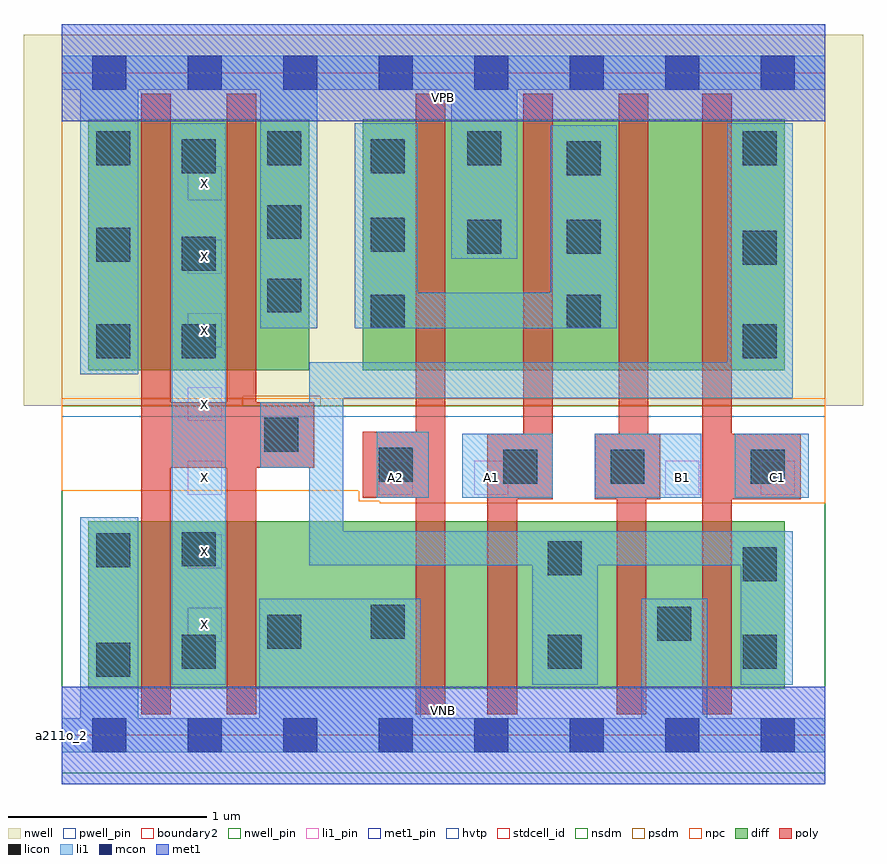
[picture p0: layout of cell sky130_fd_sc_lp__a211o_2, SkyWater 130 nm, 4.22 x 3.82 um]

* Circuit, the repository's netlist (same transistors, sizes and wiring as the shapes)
* Copyright 2020 The SkyWater PDK Authors
*
* Licensed under the Apache License, Version 2.0 (the "License");
* you may not use this file except in compliance with the License.
* You may obtain a copy of the License at
*
*     https://www.apache.org/licenses/LICENSE-2.0
*
* Unless required by applicable law or agreed to in writing, software
* distributed under the License is distributed on an "AS IS" BASIS,
* WITHOUT WARRANTIES OR CONDITIONS OF ANY KIND, either express or implied.
* See the License for the specific language governing permissions and
* limitations under the License.
*
* SPDX-License-Identifier: Apache-2.0

.SUBCKT sky130_fd_sc_lp__a211o_2 A1 A2 B1 C1 VGND VNB VPB VPWR X
*.PININFO A1:I A2:I B1:I C1:I VGND:I VNB:I VPB:I VPWR:I X:O
MMPA0 pndA A1 VPWR VPB sky130_fd_pr__pfet_01v8_hvt m=1 w=1.26U l=0.15U mult=1 sa=0.265
+ sb=0.265 sd=0.28 area=0.063 perim=1.14
MMPA1 pndA A2 VPWR VPB sky130_fd_pr__pfet_01v8_hvt m=1 w=1.26U l=0.15U mult=1 sa=0.265
+ sb=0.265 sd=0.28 area=0.063 perim=1.14
MMPB0 pndB B1 pndA VPB sky130_fd_pr__pfet_01v8_hvt m=1 w=1.26U l=0.15U mult=1 sa=0.265
+ sb=0.265 sd=0.28 area=0.063 perim=1.14
MMPC0 y C1 pndB VPB sky130_fd_pr__pfet_01v8_hvt m=1 w=1.26U l=0.15U mult=1 sa=0.265
+ sb=0.265 sd=0.28 area=0.063 perim=1.14
MMIPX X y VPWR VPB sky130_fd_pr__pfet_01v8_hvt m=2 w=1.26U l=0.15U mult=1 sa=0.265
+ sb=0.265 sd=0.28 area=0.063 perim=1.14
MMNA0 y A1 sndA1 VNB sky130_fd_pr__nfet_01v8 m=1 w=0.84U l=0.15U mult=1 sa=0.265
+ sb=0.265 sd=0.28 area=0.063 perim=1.14
MMNA1 sndA1 A2 VGND VNB sky130_fd_pr__nfet_01v8 m=1 w=0.84U l=0.15U mult=1 sa=0.265
+ sb=0.265 sd=0.28 area=0.063 perim=1.14
MMNB0 y B1 VGND VNB sky130_fd_pr__nfet_01v8 m=1 w=0.84U l=0.15U mult=1 sa=0.265
+ sb=0.265 sd=0.28 area=0.063 perim=1.14
MMNC0 y C1 VGND VNB sky130_fd_pr__nfet_01v8 m=1 w=0.84U l=0.15U mult=1 sa=0.265
+ sb=0.265 sd=0.28 area=0.063 perim=1.14
MMINX X y VGND VNB sky130_fd_pr__nfet_01v8 m=2 w=0.84U l=0.15U mult=1 sa=0.265
+ sb=0.265 sd=0.28 area=0.063 perim=1.14
.ENDS sky130_fd_sc_lp__a211o_2

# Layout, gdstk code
import gdstk
lib = gdstk.Library(unit=1e-6, precision=1e-09)
def R(c, l, rs):  # rectangles x0, y0, x1, y1
    for r in rs: c.add(gdstk.rectangle(r[:2], r[2:], *l))
def A(c, l, x, y, w, h, nx, ny, dx, dy):  # array of equal rectangles
    R(c, l, [(x+i*dx, y+j*dy, x+i*dx+w, y+j*dy+h) for i in range(nx) for j in range(ny)])
def P(c, l, *ps):  # polygons
    for p in ps: c.add(gdstk.Polygon(p, *l))
nwell_pin = (64, 16)
nwell = (64, 20)
diff = (65, 20)
poly = (66, 20)
licon = (66, 44)
li1_pin = (67, 16)
li1 = (67, 20)
mcon = (67, 44)
met1_pin = (68, 16)
met1 = (68, 20)
hvtp = (78, 44)
stdcell_id = (81, 4)
nsdm = (93, 44)
psdm = (94, 20)
npc = (95, 20)
pwell_pin = (122, 16)
boundary2 = (236, 0)

sky130_fd_sc_lp__a211o_2 = lib.new_cell('sky130_fd_sc_lp__a211o_2')
R(sky130_fd_sc_lp__a211o_2, nwell_pin, [(0,3.085,3.84,3.33)])
R(sky130_fd_sc_lp__a211o_2, nwell, [(-0.19,1.655,4.03,3.52)])
R(sky130_fd_sc_lp__a211o_2, diff, [(0.135,0.235,3.635,1.075), (0.135,1.835,1.245,3.095), (1.515,1.835,3.635,3.095)])
P(sky130_fd_sc_lp__a211o_2, poly, [(0.98,1.345),(1.27,1.345),(1.27,1.675),(0.98,1.675),(0.98,3.225),(0.83,3.225),(0.83,1.675),(0.55,1.675),(0.55,3.225),(0.4,3.225),(0.4,0.105),(0.55,0.105),(0.55,1.345),(0.83,1.345),(0.83,0.105),(0.98,0.105)],
  [(1.93,3.225),(1.78,3.225),(1.78,1.525),(1.515,1.525),(1.515,1.195),(1.78,1.195),(1.78,0.105),(1.93,0.105)],
  [(2.47,3.225),(2.32,3.225),(2.32,1.515),(2.14,1.515),(2.14,0.105),(2.29,0.105),(2.29,1.185),(2.47,1.185)],
  [(3.01,1.515),(2.95,1.515),(2.95,3.225),(2.8,3.225),(2.8,1.515),(2.68,1.515),(2.68,1.185),(2.79,1.185),(2.79,0.105),(2.94,0.105),(2.94,1.185),(3.01,1.185)],
  [(3.715,1.515),(3.37,1.515),(3.37,3.225),(3.22,3.225),(3.22,0.105),(3.37,0.105),(3.37,1.185),(3.715,1.185)])
A(sky130_fd_sc_lp__a211o_2, licon, 0.175, 1.895, 0.17, 0.17, 1, 3, 0, 0.485)
A(sky130_fd_sc_lp__a211o_2, licon, 1.035, 2.125, 0.17, 0.17, 1, 3, 0, 0.37)
R(sky130_fd_sc_lp__a211o_2, licon, [(0.175,0.295,0.345,0.465), (0.605,0.335,0.775,0.505), (2.445,0.335,2.615,0.505), (3.425,0.335,3.595,0.505), (1.035,0.435,1.205,0.605), (2.995,0.475,3.165,0.645), (1.555,0.485,1.725,0.655), (3.425,0.775,3.595,0.945), (2.445,0.805,2.615,0.975), (0.175,0.845,0.345,1.015), (0.605,0.85,0.775,1.02), (2.22,1.265,2.39,1.435), (2.76,1.265,2.93,1.435), (3.465,1.265,3.635,1.435), (1.595,1.275,1.765,1.445), (1.02,1.425,1.19,1.595), (0.605,1.895,0.775,2.065), (3.425,1.895,3.595,2.065), (1.555,2.045,1.725,2.215), (2.54,2.045,2.71,2.215), (0.605,2.335,0.775,2.505), (3.425,2.365,3.595,2.535), (2.04,2.42,2.21,2.59), (2.54,2.42,2.71,2.59), (1.555,2.43,1.725,2.6), (2.54,2.815,2.71,2.985), (0.605,2.825,0.775,2.995), (1.555,2.825,1.725,2.995), (2.04,2.865,2.21,3.035), (3.425,2.865,3.595,3.035)])
A(sky130_fd_sc_lp__a211o_2, li1_pin, 0.635, 0.47, 0.17, 0.17, 1, 7, 0, 0.37)
R(sky130_fd_sc_lp__a211o_2, li1_pin, [(1.595,1.21,1.765,1.38), (2.075,1.21,2.245,1.38), (3.035,1.21,3.205,1.38), (3.515,1.21,3.685,1.38)])
R(sky130_fd_sc_lp__a211o_2, li1, [(0.555,0.255,0.825,3.075), (1.585,1.195,1.845,1.525), (2.015,1.195,2.47,1.515), (2.68,1.195,3.215,1.515), (3.385,1.195,3.755,1.515)])
P(sky130_fd_sc_lp__a211o_2, li1, [(1,2.045),(1,3.245),(0.385,3.245),(0.385,1.815),(0.095,1.815),(0.095,3.245),(0,3.245),(0,3.415),(3.84,3.415),(3.84,3.245),(2.29,3.245),(2.29,2.395),(1.96,2.395),(1.96,3.245),(1.285,3.245),(1.285,2.045)],
  [(2.915,0.085),(2.915,0.685),(3.245,0.685),(3.245,0.085),(3.84,0.085),(3.84,-0.085),(0,-0.085),(0,0.085),(0.095,0.085),(0.095,1.095),(0.385,1.095),(0.385,0.085),(0.995,0.085),(0.995,0.685),(1.805,0.685),(1.805,0.085)],
  [(1.245,0.855),(1.245,1.345),(1,1.345),(1,1.675),(1.245,1.675),(1.245,1.875),(3.345,1.875),(3.345,3.075),(3.675,3.075),(3.675,1.695),(1.415,1.695),(1.415,1.025),(3.675,1.025),(3.675,0.255),(3.415,0.255),(3.415,0.855),(2.695,0.855),(2.695,0.255),(2.365,0.255),(2.365,0.855)],
  [(1.79,2.225),(2.46,2.225),(2.46,3.065),(2.79,3.065),(2.79,2.045),(1.475,2.045),(1.475,3.075),(1.79,3.075)])
A(sky130_fd_sc_lp__a211o_2, mcon, 0.155, -0.085, 0.17, 0.17, 8, 2, 0.48, 3.33)
R(sky130_fd_sc_lp__a211o_2, met1_pin, [(0,0,3.84,0.245), (0,3.085,3.84,3.33)])
R(sky130_fd_sc_lp__a211o_2, met1, [(0,-0.245,3.84,0.245), (0,3.085,3.84,3.575)])
R(sky130_fd_sc_lp__a211o_2, hvtp, [(0,1.6,3.84,3.33)])
R(sky130_fd_sc_lp__a211o_2, stdcell_id, [(0,0,3.84,3.33)])
R(sky130_fd_sc_lp__a211o_2, nsdm, [(0,-0.19,3.84,1.655)])
P(sky130_fd_sc_lp__a211o_2, psdm, [(3.84,3.52),(0,3.52),(0,1.655),(0.91,1.655),(0.91,1.705),(1.3,1.705),(1.3,1.655),(3.84,1.655)])
P(sky130_fd_sc_lp__a211o_2, npc, [(3.84,1.695),(0,1.695),(0,1.23),(1.495,1.23),(1.495,1.175),(1.6,1.175),(1.6,1.165),(3.84,1.165)])
R(sky130_fd_sc_lp__a211o_2, pwell_pin, [(0,0,3.84,0.245)])
R(sky130_fd_sc_lp__a211o_2, boundary2, [(0,0,3.84,3.33)])
sky130_fd_sc_lp__a211o_2.add(gdstk.Label('VNB', (1.92,0.123), layer=64, texttype=59))
sky130_fd_sc_lp__a211o_2.add(gdstk.Label('VPB', (1.92,3.208), layer=64, texttype=5))
sky130_fd_sc_lp__a211o_2.add(gdstk.Label('a211o_2', (0,0), layer=83, texttype=44))
sky130_fd_sc_lp__a211o_2.add(gdstk.Label('VPWR', (1.92,3.208), layer=68, texttype=5))
sky130_fd_sc_lp__a211o_2.add(gdstk.Label('VGND', (1.92,0.123), layer=68, texttype=5))
sky130_fd_sc_lp__a211o_2.add(gdstk.Label('X', (0.72,0.555), layer=67, texttype=5))
sky130_fd_sc_lp__a211o_2.add(gdstk.Label('X', (0.72,0.925), layer=67, texttype=5))
sky130_fd_sc_lp__a211o_2.add(gdstk.Label('X', (0.72,1.295), layer=67, texttype=5))
sky130_fd_sc_lp__a211o_2.add(gdstk.Label('X', (0.72,1.665), layer=67, texttype=5))
sky130_fd_sc_lp__a211o_2.add(gdstk.Label('X', (0.72,2.035), layer=67, texttype=5))
sky130_fd_sc_lp__a211o_2.add(gdstk.Label('X', (0.72,2.405), layer=67, texttype=5))
sky130_fd_sc_lp__a211o_2.add(gdstk.Label('X', (0.72,2.775), layer=67, texttype=5))
sky130_fd_sc_lp__a211o_2.add(gdstk.Label('A1', (2.16,1.295), layer=67, texttype=5))
sky130_fd_sc_lp__a211o_2.add(gdstk.Label('A2', (1.68,1.295), layer=67, texttype=5))
sky130_fd_sc_lp__a211o_2.add(gdstk.Label('B1', (3.12,1.295), layer=67, texttype=5))
sky130_fd_sc_lp__a211o_2.add(gdstk.Label('C1', (3.6,1.295), layer=67, texttype=5))

lib.write_gds('sky130_fd_sc_lp__a211o_2.gds')
